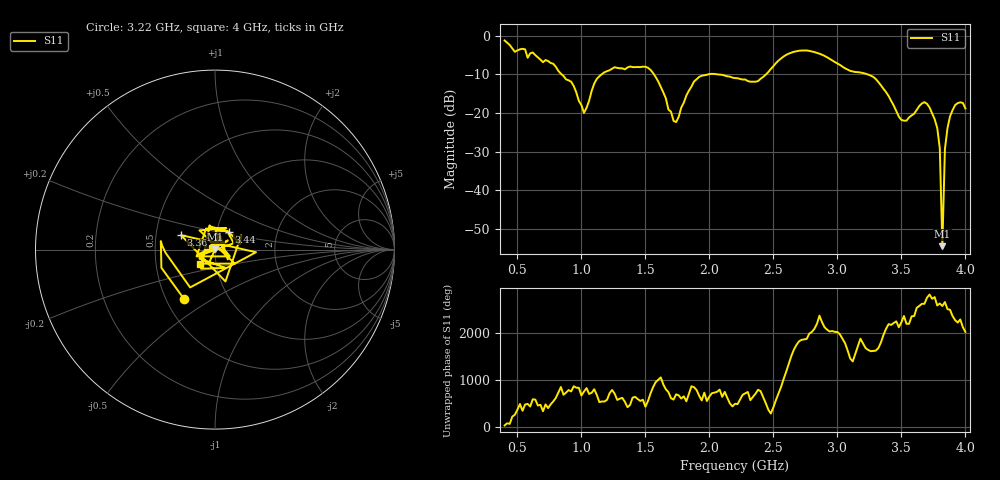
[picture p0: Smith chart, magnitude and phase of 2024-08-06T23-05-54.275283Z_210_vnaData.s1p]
!Created with skrf (http://scikit-rf.org).
# Hz S RI R 50.0
!freq ReS11 ImS11
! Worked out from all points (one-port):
!   181 points, 400 MHz to 4 GHz, reference 50 ohm
!   lowest |S11| = -54.4 dB at 3.82 GHz (marker M1), VSWR 1.00, Z = 50.1 + j0.157 ohm
!   |S11| at or under -10 dB: 1.567 GHz to 1.988 GHz (420.5 MHz wide, 23.7 % of centre); 2.074 GHz to 2.442 GHz (367.9 MHz wide, 16.3 % of centre); 3.238 GHz to end of sweep (the widest 3 of 4)
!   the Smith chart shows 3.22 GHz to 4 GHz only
!   S11 on the Smith chart (normalised r, x): 3.22 GHz: 0.62, -0.38; 3.36 GHz: 0.67, +0.11; 3.44 GHz: 1.14, +0.23; 4 GHz: 0.83, -0.13
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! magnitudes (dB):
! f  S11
! 400 MHz  -1.2
! 860 MHz  -10.4
! 940 MHz  -13.0
! 1.02 GHz  -19.9
! 1.12 GHz  -11.2
! 1.3 GHz  -8.4
! 1.52 GHz  -8.3
! 1.6 GHz  -11.8
! 1.72 GHz  -22.0
! 1.76 GHz  -21.0
! 1.92 GHz  -10.6
! 2.2 GHz  -10.9
! 2.38 GHz  -11.7
! 2.66 GHz  -4.1
! 3.1 GHz  -9.1
! 3.22 GHz  -9.8
! 3.36 GHz  -13.7
! 3.44 GHz  -18.0
! 3.5 GHz  -21.8
! 3.56 GHz  -21.1
! 3.68 GHz  -17.2
! 3.78 GHz  -23.9
! 3.8 GHz  -29.1
! 3.82 GHz  -54.4
! 3.84 GHz  -29.3
! 3.86 GHz  -23.9
! 3.92 GHz  -17.9
! 4 GHz  -18.8
